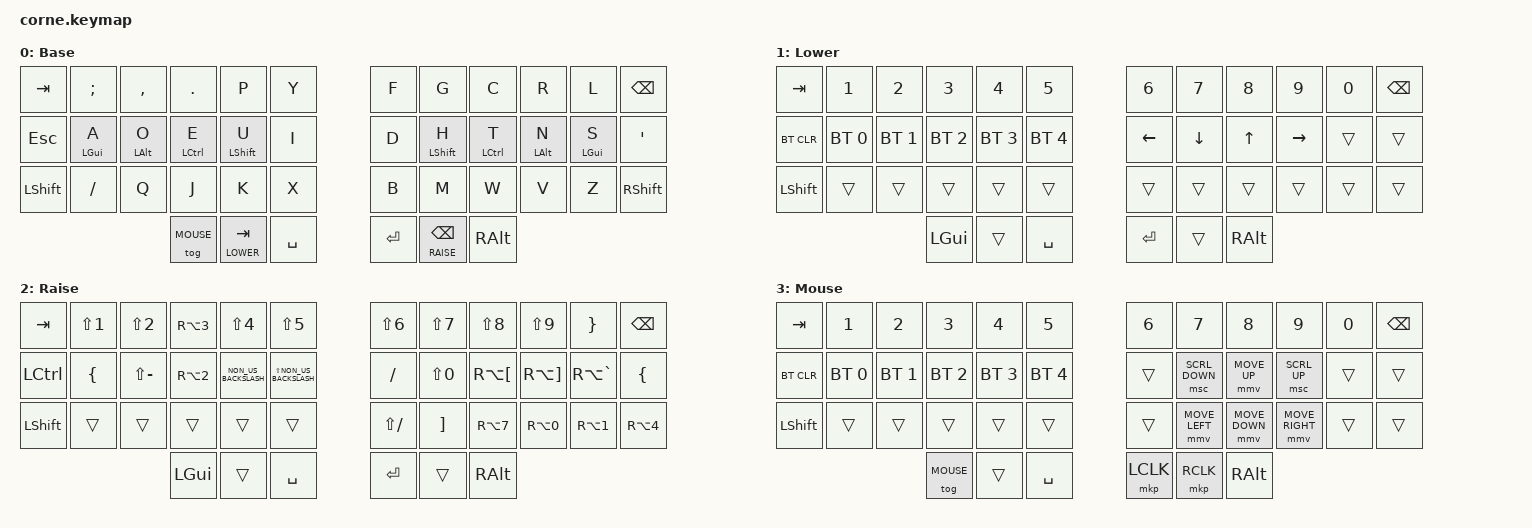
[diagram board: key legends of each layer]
/*
 * Copyright (c) 2020 The ZMK Contributors
 *
 * SPDX-License-Identifier: MIT
 */

#include <behaviors.dtsi>
#include <dt-bindings/zmk/keys.h>
#include <dt-bindings/zmk/bt.h>
#include <dt-bindings/zmk/pointing.h>

#define DVORAK 0
#define LOWER 1
#define RAISE 2
#define MOUSE 3



/ {

 behaviors {     
        hm: homerow_mods {         
            compatible = "zmk,behavior-hold-tap";         
            label = "HOMEROW_MODS";     
            #binding-cells = <2>;
	    require-prior-idle-ms = <100>;
            tapping-term-ms = <300>;
            quick_tap_ms = <125>;        
            flavor = "balanced";  
            bindings = <&kp>, <&kp>;    
        }; 
    };
        keymap {
                compatible = "zmk,keymap";

                default_layer {
// -----------------------------------------------------------------------------------------
// |  TAB |  Q  |  W  |  E  |  R  |  T  |   |  Y  |  U   |  I  |  O  |  P  | BKSP |
// | CTRL |  A  |  S  |  D  |  F  |  G  |   |  H  |  J   |  K  |  L  |  ;  |  '   |
// | SHFT |  Z  |  X  |  C  |  V  |  B  |   |  N  |  M   |  ,  |  .  |  /  | ESC  |
//                    | GUI | LWR | SPC |   | ENT | RSE  | ALT |
                        display-name = "Base";
                        bindings = <
   &kp TAB   &kp SEMI   &kp CMMA   &kp DOT    &kp P &kp Y   &kp F &kp G  &kp C     &kp R   &kp L      &kp BSPC
   &kp ESC   &hm LGUI A &hm LALT O &hm LCTL E &hm LSHFT U &kp I   &kp D &hm LSHFT H &hm LCTL T &hm LALT N &hm LGUI S &kp QUOT
   &kp LSHFT &kp FSLH   &kp Q      &kp J      &kp K       &kp X   &kp B &kp M       &kp W      &kp V      &kp Z      &kp RSHFT
                                        &tog MOUSE &lt LOWER TAB &kp SPACE   &kp RET &lt RAISE BKSP &kp RALT
                        >;
                };
                lower_layer {
// -----------------------------------------------------------------------------------------
// |  TAB |  1  |  2  |  3  |  4  |  5  |   |  6  |  7  |  8  |  9  |  0  | BKSP |
// | BTCLR| BT1 | BT2 | BT3 | BT4 | BT5 |   | LFT | DWN |  UP | RGT |     |      |
// | SHFT |     |     |     |     |     |   |     |     |     |     |     |      |
//                    | GUI |     | SPC |   | ENT |     | ALT |
                        display-name = "Lower";
                        bindings = <
   &kp TAB    &kp N1       &kp N2       &kp N3       &kp N4       &kp N5         &kp N6   &kp N7   &kp N8 &kp N9    &kp N0 &kp BSPC
   &bt BT_CLR &bt BT_SEL 0 &bt BT_SEL 1 &bt BT_SEL 2 &bt BT_SEL 3 &bt BT_SEL 4   &kp LEFT &kp DOWN &kp UP &kp RIGHT &trans &trans
   &kp LSHFT  &trans       &trans       &trans       &trans       &trans         &trans   &trans   &trans &trans    &trans &trans
                          	        &kp LGUI     &trans       &kp SPACE      &kp RET  &trans   &kp RALT
                        >;
                };

                raise_layer {
// -----------------------------------------------------------------------------------------
// |  TAB |  !  |  @  |  #  |  $  |  %  |   |  ^  |  &  |  *  |  (  |  )  | BKSP |
// | CTRL |     |     |     |     |     |   |  -  |  =  |  [  |  ]  |  \  |  `   |
// | SHFT |     |     |     |     |     |   |  _  |  +  |  {  |  }  | "|" |  ~   |
//                    | GUI |     | SPC |   | ENT |     | ALT |
                        display-name = "Raise";
                        bindings = <
   &kp TAB   &kp LS(N1) &kp LS(N2)    &kp RA(N3) &kp LS(N4)           &kp LS(N5)               &kp LS(N6)    &kp LS(N7) &kp LS(N8)   &kp LS(N9)   &kp RBRC      &kp BSPC
   &kp LCTRL &kp LBRC   &kp LS(MINUS) &kp RA(N2) &kp NON_US_BACKSLASH &kp LS(NON_US_BACKSLASH) &kp SLASH     &kp LS(N0) &kp RA(LBKT) &kp RA(RBKT) &kp RA(GRAVE) &kp LBRC
   &kp LSHFT &trans     &trans        &trans     &trans               &trans                   &kp LS(SLASH) &kp RBKT   &kp RA(N7)   &kp RA(N0)   &kp RA(N1)    &kp RA(N4)
                                        &kp LGUI &trans   &kp SPACE   &kp RET   &trans    &kp RALT
                        >;
                };
                mouse_layer {
// -----------------------------------------------------------------------------------------
// |  TAB |  1  |  2  |  3  |  4  |  5  |   |  6  |  7  |  8  |  9  |  0  | BKSP |
// | BTCLR| BT1 | BT2 | BT3 | BT4 | BT5 |   | LFT | DWN |  UP | RGT |     |      |
// | SHFT |     |     |     |     |     |   |     |     |     |     |     |      |
//                    | GUI |     | SPC |   | ENT |     | ALT |
                        display-name = "Mouse";
                        bindings = <
   &kp TAB    &kp N1       &kp N2       &kp N3       &kp N4       &kp N5         &kp N6   &kp N7         &kp N8         &kp N9          &kp N0 &kp BSPC
   &bt BT_CLR &bt BT_SEL 0 &bt BT_SEL 1 &bt BT_SEL 2 &bt BT_SEL 3 &bt BT_SEL 4   &trans   &msc SCRL_DOWN &mmv MOVE_UP   &msc SCRL_UP    &trans &trans
   &kp LSHFT  &trans       &trans       &trans       &trans       &trans         &trans   &mmv MOVE_LEFT &mmv MOVE_DOWN &mmv MOVE_RIGHT &trans &trans
                          	        &tog MOUSE     &trans       &kp SPACE      &mkp LCLK  &mkp RCLK   &kp RALT
                        >;
                };

                extra_1 {
                        status = "reserved";
                };

                extra_2 {
                        status = "reserved";
                };

                extra_3 {
                        status = "reserved";
                };
        };
};
